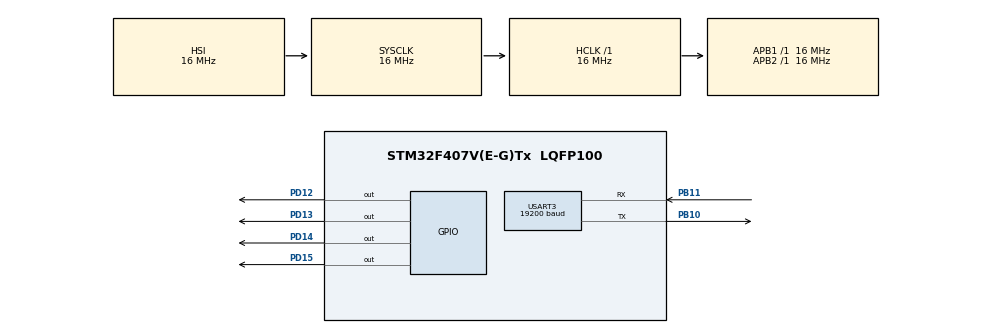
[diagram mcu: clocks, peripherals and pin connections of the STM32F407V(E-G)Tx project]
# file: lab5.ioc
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Mcu.Family=STM32F4
Mcu.Name=STM32F407V(E-G)Tx
Mcu.Package=LQFP100
NVIC.PriorityGroup=NVIC_PRIORITYGROUP_4
PB10.Mode=Asynchronous
PB10.Signal=USART3_TX
PB11.Mode=Asynchronous
PB11.Signal=USART3_RX
PD12.Signal=GPIO_Output
PD13.Signal=GPIO_Output
PD14.Signal=GPIO_Output
PD15.Signal=GPIO_Output
ProjectManager.HeapSize=0x200
ProjectManager.StackSize=0x400
ProjectManager.TargetToolchain=STM32CubeIDE
RCC.AHBFreq_Value=16000000
RCC.APB1Freq_Value=16000000
RCC.APB2Freq_Value=16000000
RCC.CortexFreq_Value=16000000
RCC.HSE_VALUE=25000000
RCC.HSI_VALUE=16000000
RCC.LSE_VALUE=32768
RCC.SYSCLKFreq_VALUE=16000000
RCC.VCOOutputFreq_Value=192000000
USART3.BaudRate=19200
USART3.VirtualMode=VM_ASYNC
board=custom

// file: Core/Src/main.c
/* USER CODE BEGIN Header */
/**
  ******************************************************************************
  * @file           : main.c
  * @brief          : Main program body
  ******************************************************************************
  * @attention
  *
  * Copyright (c) 2024 STMicroelectronics.
  * All rights reserved.
  *
  * This software is licensed under terms that can be found in the LICENSE file
  * in the root directory of this software component.
  * If no LICENSE file comes with this software, it is provided AS-IS.
  *
  ******************************************************************************
  */
/* USER CODE END Header */
#include "main.h"

/* USER CODE BEGIN Includes */
#include <stdio.h>
/* USER CODE END Includes */

UART_HandleTypeDef huart3;

void SystemClock_Config(void);
static void MX_GPIO_Init(void);
static void MX_USART3_UART_Init(void);

int main(void)
{

  /* MCU Configuration--------------------------------------------------------*/

  /* Reset of all peripherals, Initializes the Flash interface and the Systick. */
  HAL_Init();

  /* Configure the system clock */
  SystemClock_Config();

  /* Initialize all configured peripherals */
  MX_GPIO_Init();
  MX_USART3_UART_Init();

  /* Infinite loop */
  /* USER CODE BEGIN WHILE */
  while (1)
  {
	uint8_t input[1] = { 0 };
	HAL_StatusTypeDef read = HAL_UART_Receive(&huart3, input, 1, 100);
	if (read != HAL_OK) {
		continue;
	}

	char output[11];
	snprintf(output, sizeof(output), "%c - done\n\r", input[0]);

	switch (input[0]) {
		case 'b':
			HAL_GPIO_TogglePin(GPIOD, GPIO_PIN_15);
			HAL_UART_Transmit(&huart3, (uint8_t *)output, sizeof(output), 100);
			break;
		case 'r':
			HAL_GPIO_TogglePin(GPIOD, GPIO_PIN_14);
			HAL_UART_Transmit(&huart3, (uint8_t *)output, sizeof(output), 100);
			break;
		case 'y':
			HAL_GPIO_TogglePin(GPIOD, GPIO_PIN_13);
			HAL_UART_Transmit(&huart3, (uint8_t *)output, sizeof(output), 100);
			break;
		case 'g':
			HAL_GPIO_TogglePin(GPIOD, GPIO_PIN_12);
			HAL_UART_Transmit(&huart3, (uint8_t *)output, sizeof(output), 100);
			break;
		case 'a':
			HAL_GPIO_WritePin(GPIOD, GPIO_PIN_15, GPIO_PIN_SET);
			HAL_GPIO_WritePin(GPIOD, GPIO_PIN_14, GPIO_PIN_SET);
			HAL_GPIO_WritePin(GPIOD, GPIO_PIN_13, GPIO_PIN_SET);
			HAL_GPIO_WritePin(GPIOD, GPIO_PIN_12, GPIO_PIN_SET);
			HAL_UART_Transmit(&huart3, (uint8_t *)output, sizeof(output), 100);
			break;
		case 'o':
			HAL_GPIO_WritePin(GPIOD, GPIO_PIN_15, GPIO_PIN_RESET);
			HAL_GPIO_WritePin(GPIOD, GPIO_PIN_14, GPIO_PIN_RESET);
			HAL_GPIO_WritePin(GPIOD, GPIO_PIN_13, GPIO_PIN_RESET);
			HAL_GPIO_WritePin(GPIOD, GPIO_PIN_12, GPIO_PIN_RESET);
			HAL_UART_Transmit(&huart3, (uint8_t *)output, sizeof(output), 100);
			break;
	}

    /* USER CODE END WHILE */

  }
}

void SystemClock_Config(void)
{
  RCC_OscInitTypeDef RCC_OscInitStruct = {0};
  RCC_ClkInitTypeDef RCC_ClkInitStruct = {0};

  /** Configure the main internal regulator output voltage
  */
  __HAL_RCC_PWR_CLK_ENABLE();
  __HAL_PWR_VOLTAGESCALING_CONFIG(PWR_REGULATOR_VOLTAGE_SCALE1);

  /** Initializes the RCC Oscillators according to the specified parameters
  * in the RCC_OscInitTypeDef structure.
  */
  RCC_OscInitStruct.OscillatorType = RCC_OSCILLATORTYPE_HSI;
  RCC_OscInitStruct.HSIState = RCC_HSI_ON;
  RCC_OscInitStruct.HSICalibrationValue = RCC_HSICALIBRATION_DEFAULT;
  RCC_OscInitStruct.PLL.PLLState = RCC_PLL_NONE;
  if (HAL_RCC_OscConfig(&RCC_OscInitStruct) != HAL_OK)
  {
    Error_Handler();
  }

  /** Initializes the CPU, AHB and APB buses clocks
  */
  RCC_ClkInitStruct.ClockType = RCC_CLOCKTYPE_HCLK|RCC_CLOCKTYPE_SYSCLK
                              |RCC_CLOCKTYPE_PCLK1|RCC_CLOCKTYPE_PCLK2;
  RCC_ClkInitStruct.SYSCLKSource = RCC_SYSCLKSOURCE_HSI;
  RCC_ClkInitStruct.AHBCLKDivider = RCC_SYSCLK_DIV1;
  RCC_ClkInitStruct.APB1CLKDivider = RCC_HCLK_DIV1;
  RCC_ClkInitStruct.APB2CLKDivider = RCC_HCLK_DIV1;

  if (HAL_RCC_ClockConfig(&RCC_ClkInitStruct, FLASH_LATENCY_0) != HAL_OK)
  {
    Error_Handler();
  }
}

static void MX_USART3_UART_Init(void)
{

  huart3.Instance = USART3;
  huart3.Init.BaudRate = 19200;
  huart3.Init.WordLength = UART_WORDLENGTH_8B;
  huart3.Init.StopBits = UART_STOPBITS_1;
  huart3.Init.Parity = UART_PARITY_NONE;
  huart3.Init.Mode = UART_MODE_TX_RX;
  huart3.Init.HwFlowCtl = UART_HWCONTROL_NONE;
  huart3.Init.OverSampling = UART_OVERSAMPLING_16;
  if (HAL_UART_Init(&huart3) != HAL_OK)
  {
    Error_Handler();
  }

}

static void MX_GPIO_Init(void)
{
  GPIO_InitTypeDef GPIO_InitStruct = {0};

  /* GPIO Ports Clock Enable */
  __HAL_RCC_GPIOB_CLK_ENABLE();
  __HAL_RCC_GPIOD_CLK_ENABLE();

  /*Configure GPIO pin Output Level */
  HAL_GPIO_WritePin(GPIOD, GPIO_PIN_12|GPIO_PIN_13|GPIO_PIN_14|GPIO_PIN_15, GPIO_PIN_RESET);

  /*Configure GPIO pins : PD12 PD13 PD14 PD15 */
  GPIO_InitStruct.Pin = GPIO_PIN_12|GPIO_PIN_13|GPIO_PIN_14|GPIO_PIN_15;
  GPIO_InitStruct.Mode = GPIO_MODE_OUTPUT_PP;
  GPIO_InitStruct.Pull = GPIO_NOPULL;
  GPIO_InitStruct.Speed = GPIO_SPEED_FREQ_LOW;
  HAL_GPIO_Init(GPIOD, &GPIO_InitStruct);

}

void Error_Handler(void)
{
  __disable_irq();
  while (1)
  {
  }
}
